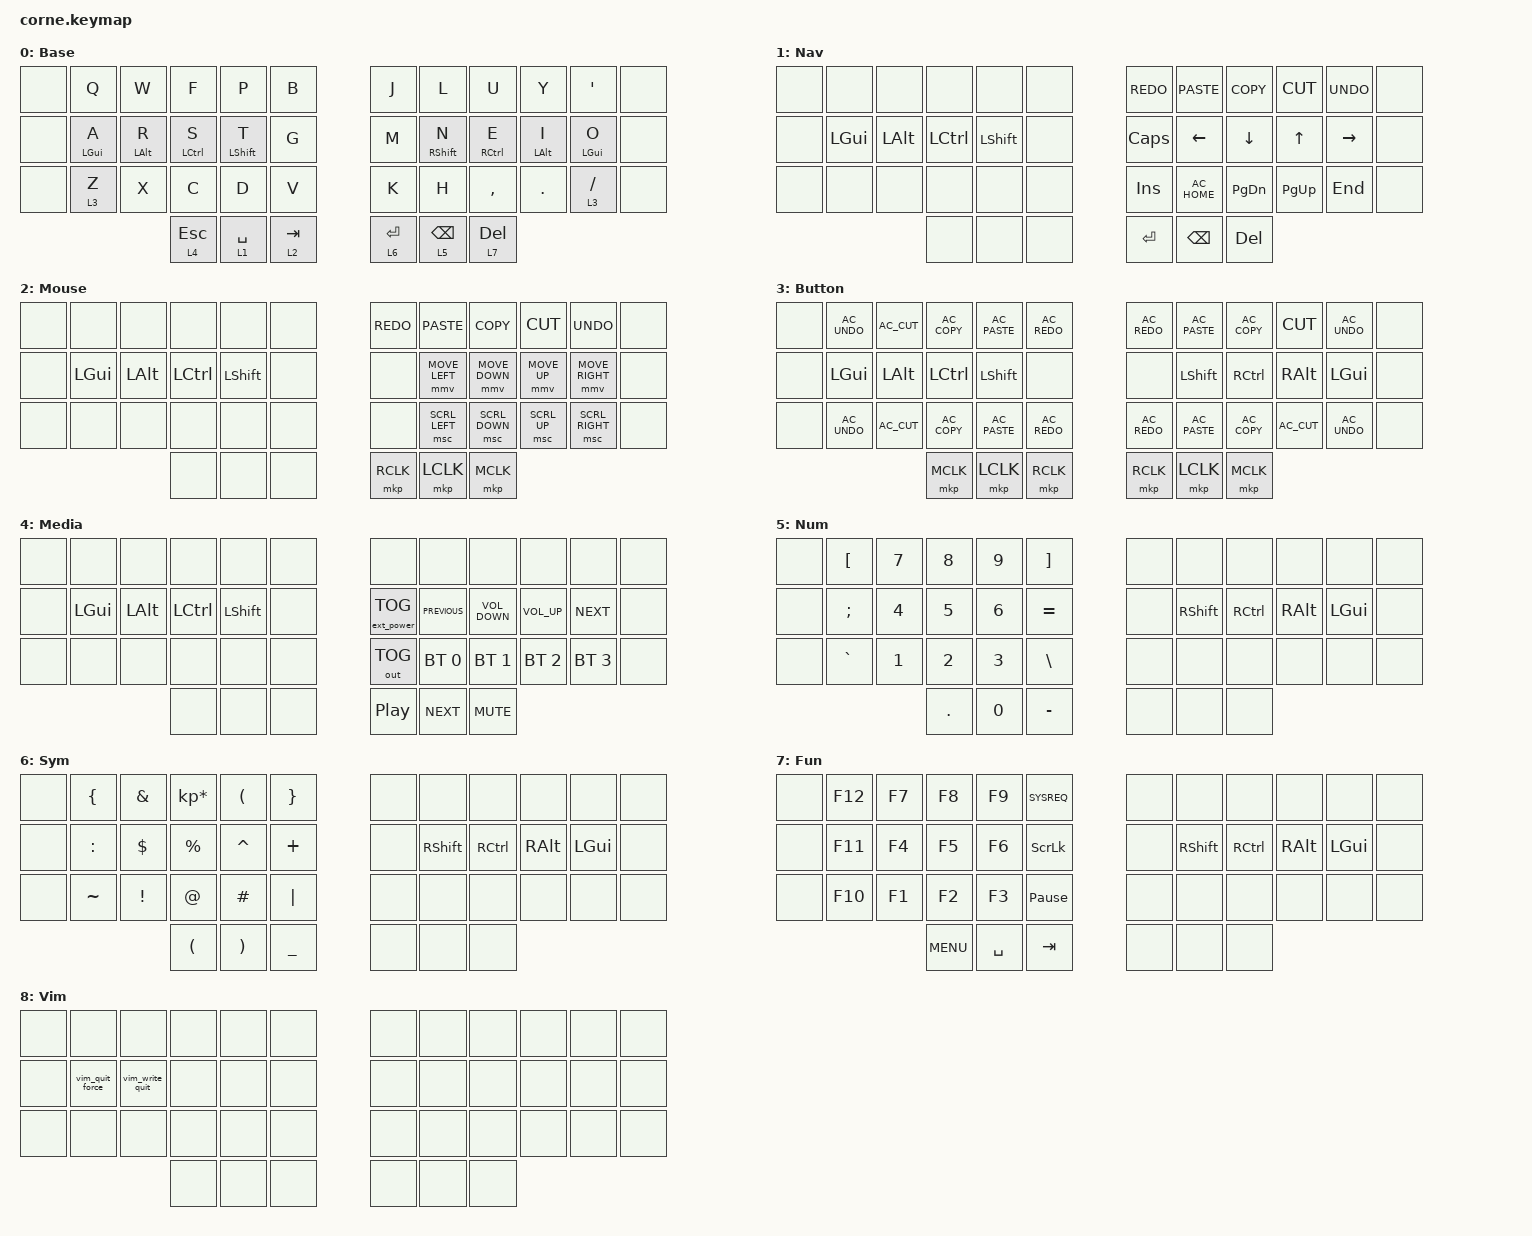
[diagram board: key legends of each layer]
/*
 * Copyright (c) 2020 The ZMK Contributors
 *
 * SPDX-License-Identifier: MIT
 */

#include <behaviors.dtsi>
#include <dt-bindings/zmk/bt.h>
#include <dt-bindings/zmk/ext_power.h>
#include <dt-bindings/zmk/keys.h>
#include <dt-bindings/zmk/outputs.h>
#include <dt-bindings/zmk/pointing.h>

/ {
    behaviors {
        hml: homewrow_mods_left {
            compatible = "zmk,behavior-hold-tap";
            label = "HOMEROW_MODS_LEFT_HAND";
            bindings = <&kp>, <&kp>;

            #binding-cells = <2>;
            tapping-term-ms = <165>;
            hold-trigger-key-positions = <39 40 41 19 30 18 6 9 20 32 31 7 8 21 33 34 35 22 23 11 10>;
            flavor = "balanced";
            hold-trigger-on-release;
            hold-while-undecided;
        };

        hmr: homewrow_mods_right {
            compatible = "zmk,behavior-hold-tap";
            label = "HOMEROW_MODS_RIGHT_HAND";
            bindings = <&kp>, <&kp>;

            #binding-cells = <2>;
            tapping-term-ms = <165>;
            hold-trigger-key-positions = <0 0 1 1 2 2 16 28 37 38 29 17 4 4 5 3 14 12 13 27 15 26 25 24 36>;
            flavor = "balanced";
            hold-while-undecided;
            hold-trigger-on-release;
        };
    };

    combos {
        compatible = "zmk,combos";

        n_tilde_combo {
            bindings = <&kp RA(N)>;
            key-positions = <1 2>;
        };

        vim_combo {
            bindings = <&sl 8>;
            key-positions = <10 9>;
        };
    };

    macros {
        vim_quit_force: nvim {
            compatible = "zmk,behavior-macro";
            #binding-cells = <0>;
            bindings = <&kp COLON &kp Q &kp EXCLAMATION>;
            label = "NVIM";
        };

        vim_write_quit: vim_write_quit {
            compatible = "zmk,behavior-macro";
            #binding-cells = <0>;
            bindings = <&kp COLON &kp W &kp Q>;
            label = "VIM_WRITE_QUIT";
        };
    };

    keymap {
        compatible = "zmk,keymap";

        base_layer {
            // -----------------------------------------------------------------------------------------
            // |  TAB |  Q  |  W  |  E  |  R  |  T  |   |  Y  |  U   |  I  |  O  |  P  | BKSP |
            // | CTRL |  A  |  S  |  D  |  F  |  G  |   |  H  |  J   |  K  |  L  |  ;  |  '   |
            // | SHFT |  Z  |  X  |  C  |  V  |  B  |   |  N  |  M   |  ,  |  .  |  /  | ESC  |
            //                    | GUI | LWR | SPC |   | ENT | RSE  | ALT |

            bindings = <
&none  &kp Q        &kp W            &kp F         &kp P              &kp B        &kp J        &kp L               &kp U         &kp Y        &kp APOS     &none
&none  &hml LGUI A  &hml LEFT_ALT R  &hml LCTRL S  &hml LEFT_SHIFT T  &kp G        &kp M        &hmr RIGHT_SHIFT N  &hmr RCTRL E  &hmr LALT I  &hmr LGUI O  &none
&none  &lt 3 Z      &kp X            &kp C         &kp D              &kp V        &kp K        &kp H               &kp COMMA     &kp DOT      &lt 3 SLASH  &none
                                     &lt 4 ESC     &lt 1 SPACE        &lt 2 TAB    &lt 6 ENTER  &lt 5 BACKSPACE     &lt 7 DELETE
            >;

            label = "Base";
        };

        nav_layer {
            bindings = <
&none  &none     &none         &none      &none           &none    &kp K_REDO    &kp K_PASTE    &kp K_COPY     &kp K_CUT    &kp K_UNDO  &none
&none  &kp LGUI  &kp LEFT_ALT  &kp LCTRL  &kp LEFT_SHIFT  &none    &kp CAPSLOCK  &kp LEFT       &kp DOWN       &kp UP       &kp RIGHT   &none
&none  &none     &none         &none      &none           &none    &kp INSERT    &kp C_AC_HOME  &kp PAGE_DOWN  &kp PAGE_UP  &kp END     &none
                               &none      &none           &none    &kp ENTER     &kp BACKSPACE  &kp DELETE
            >;

            label = "Nav";
        };

        mouse_layer {
            // -----------------------------------------------------------------------------------------
            // |  TAB |  1  |  2  |  3  |  4  |  5  |   |  6  |  7  |  8  |  9  |  0  | BKSP |
            // | BTCLR| BT1 | BT2 | BT3 | BT4 | BT5 |   | LFT | DWN |  UP | RGT |     |      |
            // | SHFT |     |     |     |     |     |   |     |     |     |     |     |      |
            //                    | GUI |     | SPC |   | ENT |     | ALT |

            bindings = <
&none  &none     &none         &none      &none           &none    &kp K_REDO  &kp K_PASTE     &kp K_COPY      &kp K_CUT     &kp K_UNDO       &none
&none  &kp LGUI  &kp LEFT_ALT  &kp LCTRL  &kp LEFT_SHIFT  &none    &none       &mmv MOVE_LEFT  &mmv MOVE_DOWN  &mmv MOVE_UP  &mmv MOVE_RIGHT  &none
&none  &none     &none         &none      &none           &none    &none       &msc SCRL_LEFT  &msc SCRL_DOWN  &msc SCRL_UP  &msc SCRL_RIGHT  &none
                               &none      &none           &none    &mkp RCLK   &mkp LCLK       &mkp MCLK
            >;

            label = "Mouse";
        };

        button_layer {
            bindings = <
&none  &kp C_AC_UNDO  &kp C_AC_CUT  &kp C_AC_COPY  &kp C_AC_PASTE  &kp C_AC_REDO    &kp C_AC_REDO  &kp C_AC_PASTE  &kp C_AC_COPY      &kp K_CUT     &kp C_AC_UNDO  &none
&none  &kp LGUI       &kp LALT      &kp LCTRL      &kp LSHFT       &none            &none          &kp LSHFT       &kp RIGHT_CONTROL  &kp RALT      &kp LGUI       &none
&none  &kp C_AC_UNDO  &kp C_AC_CUT  &kp C_AC_COPY  &kp C_AC_PASTE  &kp C_AC_REDO    &kp C_AC_REDO  &kp C_AC_PASTE  &kp C_AC_COPY      &kp C_AC_CUT  &kp C_AC_UNDO  &none
                                    &mkp MCLK      &mkp LCLK       &mkp RCLK        &mkp RCLK      &mkp LCLK       &mkp MCLK
            >;

            label = "Button";
        };

        media_layer {
            // -----------------------------------------------------------------------------------------
            // |  TAB |  !  |  @  |  #  |  $  |  %  |   |  ^  |  &  |  *  |  (  |  )  | BKSP |
            // | CTRL |     |     |     |     |     |   |  -  |  =  |  [  |  ]  |  \  |  `   |
            // | SHFT |     |     |     |     |     |   |  _  |  +  |  {  |  }  | "|" |  ~   |
            //                    | GUI |     | SPC |   | ENT |     | ALT |

            bindings = <
&none  &none     &none         &none      &none           &none    &none              &none           &none              &none            &none         &none
&none  &kp LGUI  &kp LEFT_ALT  &kp LCTRL  &kp LEFT_SHIFT  &none    &ext_power EP_TOG  &kp C_PREVIOUS  &kp C_VOLUME_DOWN  &kp C_VOLUME_UP  &kp C_NEXT    &none
&none  &none     &none         &none      &none           &none    &out OUT_TOG       &bt BT_SEL 0    &bt BT_SEL 1       &bt BT_SEL 2     &bt BT_SEL 3  &none
                               &none      &none           &none    &kp C_PLAY_PAUSE   &kp C_NEXT      &kp K_MUTE
            >;

            label = "Media";
        };

        num_layer {
            bindings = <
&none  &kp LBKT   &kp N7  &kp N8   &kp N9  &kp RIGHT_BRACKET    &none  &none            &none      &none          &none     &none
&none  &kp SEMI   &kp N4  &kp N5   &kp N6  &kp EQUAL            &none  &kp RIGHT_SHIFT  &kp RCTRL  &kp RIGHT_ALT  &kp LGUI  &none
&none  &kp GRAVE  &kp N1  &kp N2   &kp N3  &kp BACKSLASH        &none  &none            &none      &none          &none     &none
                          &kp DOT  &kp N0  &kp MINUS            &none  &none            &none
            >;

            label = "Num";
        };

        sym_layer {
            bindings = <
&none  &kp LEFT_BRACE  &kp AMPERSAND    &kp KP_MULTIPLY       &kp LEFT_PARENTHESIS   &kp RIGHT_BRACE    &none  &none            &none      &none          &none     &none
&none  &kp COLON       &kp DOLLAR       &kp PERCENT           &kp CARET              &kp PLUS           &none  &kp RIGHT_SHIFT  &kp RCTRL  &kp RIGHT_ALT  &kp LGUI  &none
&none  &kp TILDE       &kp EXCLAMATION  &kp AT_SIGN           &kp HASH               &kp PIPE           &none  &none            &none      &none          &none     &none
                                        &kp LEFT_PARENTHESIS  &kp RIGHT_PARENTHESIS  &kp UNDERSCORE     &none  &none            &none
            >;

            label = "Sym";
        };

        fun_layer {
            bindings = <
&none  &kp F12  &kp F7  &kp F8      &kp F9     &kp SYSREQ         &none  &none            &none      &none          &none     &none
&none  &kp F11  &kp F4  &kp F5      &kp F6     &kp SCROLLLOCK     &none  &kp RIGHT_SHIFT  &kp RCTRL  &kp RIGHT_ALT  &kp LGUI  &none
&none  &kp F10  &kp F1  &kp F2      &kp F3     &kp PAUSE_BREAK    &none  &none            &none      &none          &none     &none
                        &kp C_MENU  &kp SPACE  &kp TAB            &none  &none            &none
            >;

            label = "Fun";
        };

        vim_layer {
            bindings = <
&none  &none            &none            &none  &none  &none    &none  &none  &none  &none  &none  &none
&none  &vim_quit_force  &vim_write_quit  &none  &none  &none    &none  &none  &none  &none  &none  &none
&none  &none            &none            &none  &none  &none    &none  &none  &none  &none  &none  &none
                                         &none  &none  &none    &none  &none  &none
            >;

            label = "Vim";
        };
    };
};
